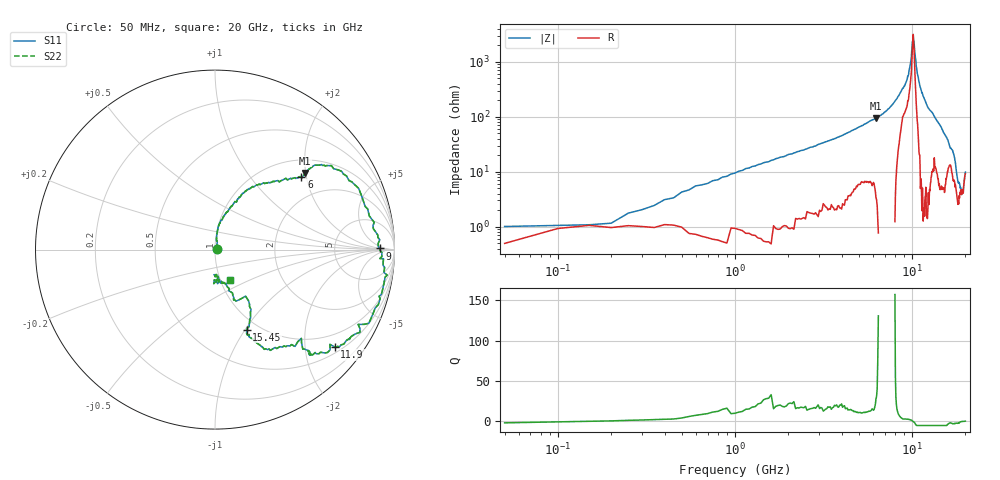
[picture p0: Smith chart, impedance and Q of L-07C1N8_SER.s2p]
#	mhz	s	ma	r	50
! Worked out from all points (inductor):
!   400 points, 50 MHz to 20 GHz, reference 50 ohm
!   read as one part in series: L = 1.43 nH near 500 MHz
!   highest Q = 27.6 at 6.25 GHz (marker M1), where L = 2.41 nH
!   self-resonance near 10.16 GHz
!   S11 on the Smith chart (normalised r, x): 50 MHz: 1.02, +0.00; 6 GHz: 1.39, +1.87; 9 GHz: 24, +2; 11.9 GHz: 0.64, -2.68; 15.45 GHz: 0.88, -1.02; 20 GHz: 1.12, -0.39
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50  0.01 10.6  1 1.1  1 1.1  0.01 10.6
100  0.01 33.9  0.99 0.9  0.99 0.9  0.01 33.9
250  0.03 68.4  0.99 0.0  0.99 0.0  0.03 68.4
1050  0.1 82.7  0.98 -5.8  0.98 -5.8  0.1 82.7
3400  0.32 64.9  0.93 -21.3  0.93 -21.3  0.32 64.9
6000  0.63 40.2  0.76 -44.8  0.76 -44.8  0.63 40.2
6250  0.66 40.3  0.74 -47.1  0.74 -47.1  0.66 40.3
6700  0.71 40.4  0.68 -52.6  0.68 -52.6  0.71 40.4
7600  0.83 31.6  0.54 -63.3  0.54 -63.3  0.83 31.6
9000  0.92 0.4  0.26 -70.5  0.26 -70.5  0.92 0.4
9550  0.94 -5.3  0.16 -74.0  0.16 -74.0  0.94 -5.3
9900  0.96 -9.2  0.08 -66.2  0.08 -66.2  0.96 -9.2
10050  0.96 -10.7  0.04 -47.4  0.04 -47.4  0.96 -10.7
10150  0.96 -12.1  0.03 -13.8  0.03 -13.8  0.96 -12.1
10550  0.96 -17.2  0.11 61.0  0.11 61.0  0.96 -17.2
10900  0.95 -24.3  0.2 62.3  0.2 62.3  0.95 -24.3
11900  0.86 -39.1  0.42 50.8  0.42 50.8  0.86 -39.1
13350  0.69 -45.8  0.63 34.4  0.63 34.4  0.69 -45.8
15450  0.48 -68.4  0.84 14.9  0.84 14.9  0.48 -68.4
16700  0.31 -62.9  0.89 5.9  0.89 5.9  0.31 -62.9
19050  0.14 -92.5  0.93 -8.4  0.93 -8.4  0.14 -92.5
20000  0.19 -63.0  0.94 -13.8  0.94 -13.8  0.19 -63.0
